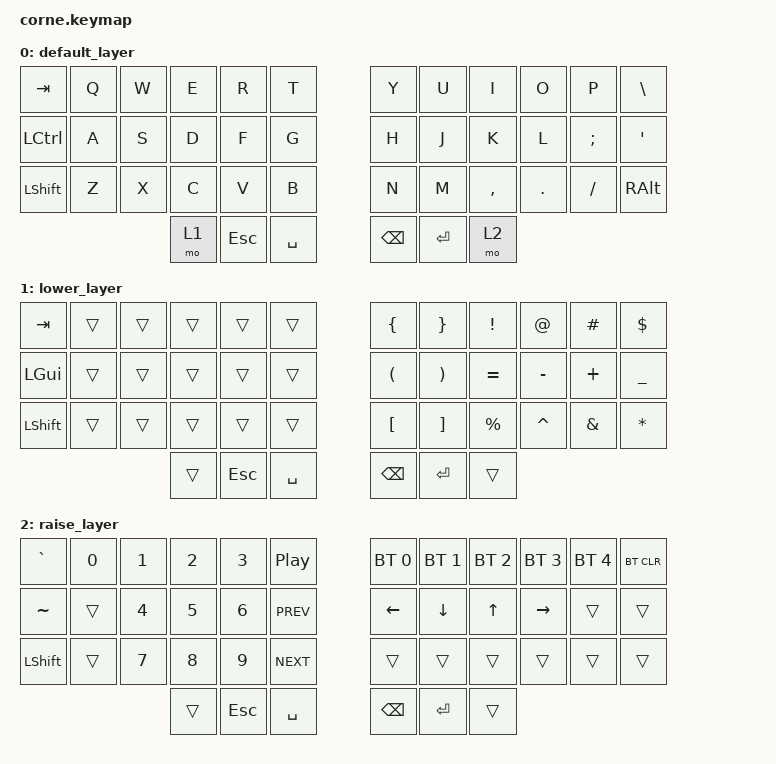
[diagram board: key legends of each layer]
/*
 * Copyright (c) 2020 The ZMK Contributors
 *
 * SPDX-License-Identifier: MIT
 */

#include <behaviors.dtsi>
#include <dt-bindings/zmk/keys.h>
#include <dt-bindings/zmk/bt.h>

/ {
        keymap {
                compatible = "zmk,keymap";

                default_layer {
// --------------------------------------------------------------------------------
// |  TAB |  Q  |  W  |  E  |  R  |  T  |   |  Y  |  U   |  I  |  O  |  P  |  \   |
 
// | CTRL |  A  |  S  |  D  |  F  |  G  |   |  H  |  J   |  K  |  L  |  ;  |  '   |
// | SHFT |  Z  |  X  |  C  |  V  |  B  |   |  N  |  M   |  ,  |  .  |  /  | ALT  |
//                    | LWR | SPC | ESC |   | RET | BSPC | RSE |
                        bindings = <
   &kp TAB   &kp Q &kp W &kp E &kp R &kp T   &kp Y &kp U  &kp I     &kp O   &kp P    &kp BSLH
   &kp LCTRL &kp A &kp S &kp D &kp F &kp G   &kp H &kp J  &kp K     &kp L   &kp SEMI &kp SQT
   &kp LSHFT &kp Z &kp X &kp C &kp V &kp B   &kp N &kp M  &kp COMMA &kp DOT &kp FSLH &kp RALT
                   &mo 1 &kp ESC &kp SPACE   &kp BSPC &kp RET &mo 2
                        >;
                };
                lower_layer {
// -------------------------------------------------------------------------------
// |      |     |     |     |     |     |   |  {  |  }  |  !  |  @  |  #  |  $   |
// |  GUI |     |     |     |     |     |   |  (  |  )  |  =  |  -  |  +  |  _   |
// |      |     |     |     |     |     |   |  [  |  ]  |  %  |  ^  |  &  |  *   |
//                    |     |     |     |   |     |     |     |
                        bindings = <
   &kp TAB     &trans      &trans      &trans      &trans      &trans        &kp LBRC    &kp RBRC    &kp EXCL    &kp AT      &kp HASH    &kp DOLLAR  
   &kp LGUI    &trans      &trans      &trans      &trans      &trans        &kp LPAR    &kp RPAR    &kp EQUAL   &kp MINUS   &kp PLUS    &kp UNDER 
   &kp LSHFT   &trans      &trans      &trans      &trans      &trans        &kp LBKT    &kp RBKT    &kp PERCENT &kp CARET   &kp AMPS    &kp ASTERISK
                          	       &trans      &kp ESC     &kp SPACE     &kp BSPC    &kp RET    &trans
                        >;
                };

                raise_layer {
// --------------------------------------------------------------------------------------
// |  `   |  0  |  1  |  2  |  3  |C_PLAY_PAUSE|   | BT1 | BT2 | BT3 | BT4 | BT5 | BT_CLR |
// |  ~   |     |  4  |  5  |  6  |   C_NEXT   |   |LEFT |DOWN | UP  |RIGHT|     |        |
// |      |     |  7  |  8  |  9  | C_PREVIOUS |   |     |     |     |     |     |        |
//                    |     |     |            |   |     |     |     |
                        bindings = <
   &kp GRAVE   &kp N0      &kp N1      &kp N2      &kp N3      &kp C_PLAY_PAUSE   &bt BT_SEL 0 &bt BT_SEL 1 &bt BT_SEL 2 &bt BT_SEL 3 &bt BT_SEL 4 &bt BT_CLR  
   &kp TILDE   &trans      &kp N4      &kp N5      &kp N6      &kp C_PREV         &kp LEFT     &kp DOWN     &kp UP       &kp RIGHT    &trans       &trans       
   &kp LSHFT   &trans      &kp N7      &kp N8      &kp N9      &kp C_NEXT         &trans       &trans       &trans       &trans       &trans       &trans       
                          	       &trans      &kp ESC     &kp SPACE          &kp BSPC     &kp RET      &trans
                        >;
                };
        };
};
